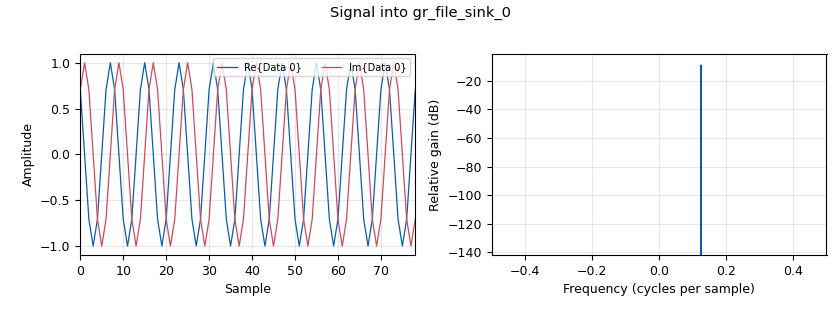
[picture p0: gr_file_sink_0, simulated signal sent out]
<?xml version='1.0' encoding='utf-8'?>
<flow_graph>
<block>
<key>options</key>
<param><key>id</key><value>top_block</value></param>
<param><key>generate_options</key><value>wx_gui</value></param>
<param><key>category</key><value>Custom</value></param>
</block>
<block>
<key>variable</key>
<param><key>id</key><value>samp_rate</value></param>
<param><key>value</key><value>8</value></param>
</block>
<block>
<key>gr_throttle</key>
<param><key>id</key><value>gr_throttle_0</value></param>
<param><key>type</key><value>complex</value></param>
<param><key>samples_per_second</key><value>samp_rate</value></param>
<param><key>vlen</key><value>1</value></param>
</block>
<block>
<key>gr_file_sink</key>
<param><key>id</key><value>gr_file_sink_0</value></param>
<param><key>file</key><value>/home/frank/Develop/radio/tmp/grc.out</value></param>
<param><key>type</key><value>complex</value></param>
<param><key>vlen</key><value>1</value></param>
<param><key>unbuffered</key><value>False</value></param>
</block>
<block>
<key>analog_sig_source_x</key>
<param><key>id</key><value>analog_sig_source_x_0</value></param>
<param><key>type</key><value>complex</value></param>
<param><key>samp_rate</key><value>samp_rate</value></param>
<param><key>waveform</key><value>analog.GR_SIN_WAVE</value></param>
<param><key>freq</key><value>1</value></param>
<param><key>amp</key><value>1</value></param>
<param><key>offset</key><value>0</value></param>
</block>
<connection><source_block_id>analog_sig_source_x_0</source_block_id><sink_block_id>gr_throttle_0</sink_block_id><source_key>0</source_key><sink_key>0</sink_key></connection>
<connection><source_block_id>gr_throttle_0</source_block_id><sink_block_id>gr_file_sink_0</sink_block_id><source_key>0</source_key><sink_key>0</sink_key></connection>
</flow_graph>
